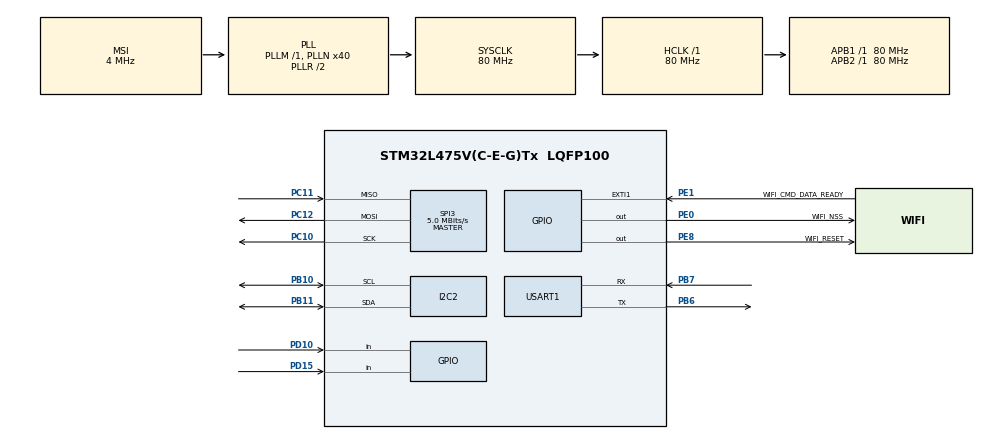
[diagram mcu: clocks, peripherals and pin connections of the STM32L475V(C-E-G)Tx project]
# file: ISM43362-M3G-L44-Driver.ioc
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I2C2.Timing=0x10909CEC
Mcu.Family=STM32L4
Mcu.Name=STM32L475V(C-E-G)Tx
Mcu.Package=LQFP100
NVIC.EXTI1_IRQn=true\:0\:0\:false\:false\:true\:true\:true
NVIC.PriorityGroup=NVIC_PRIORITYGROUP_4
PB10.Mode=I2C
PB10.Signal=I2C2_SCL
PB11.Mode=I2C
PB11.Signal=I2C2_SDA
PB6.Mode=Asynchronous
PB6.Signal=USART1_TX
PB7.Mode=Asynchronous
PB7.Signal=USART1_RX
PC10.Mode=Full_Duplex_Master
PC10.Signal=SPI3_SCK
PC11.Mode=Full_Duplex_Master
PC11.Signal=SPI3_MISO
PC12.Mode=Full_Duplex_Master
PC12.Signal=SPI3_MOSI
PD10.Signal=GPIO_Input
PD15.Signal=GPIO_Input
PE0.GPIO_Label=WIFI_NSS
PE0.Signal=GPIO_Output
PE1.GPIO_Label=WIFI_CMD_DATA_READY
PE1.GPIO_ModeDefaultEXTI=GPIO_MODE_IT_RISING_FALLING
PE1.Signal=GPXTI1
PE8.GPIO_Label=WIFI_RESET
PE8.Signal=GPIO_Output
ProjectManager.HeapSize=0x200
ProjectManager.StackSize=0x400
ProjectManager.TargetToolchain=STM32CubeIDE
RCC.ADCFreq_Value=48000000
RCC.AHBFreq_Value=80000000
RCC.APB1Freq_Value=80000000
RCC.APB1TimFreq_Value=80000000
RCC.APB2Freq_Value=80000000
RCC.APB2TimFreq_Value=80000000
RCC.CortexFreq_Value=80000000
RCC.HCLKFreq_Value=80000000
RCC.HSE_VALUE=8000000
RCC.HSI_VALUE=16000000
RCC.LSE_VALUE=32768
RCC.MSI_VALUE=4000000
RCC.PLLN=40
RCC.PLLSAI1N=24
RCC.SYSCLKFreq_VALUE=80000000
RCC.SYSCLKSource=RCC_SYSCLKSOURCE_PLLCLK
RCC.USBFreq_Value=48000000
RCC.VCOOutputFreq_Value=160000000
SPI3.BaudRatePrescaler=SPI_BAUDRATEPRESCALER_16
SPI3.CalculateBaudRate=5.0 MBits/s
SPI3.DataSize=SPI_DATASIZE_16BIT
SPI3.Direction=SPI_DIRECTION_2LINES
SPI3.Mode=SPI_MODE_MASTER
SPI3.VirtualType=VM_MASTER
USART1.VirtualMode-Asynchronous=VM_ASYNC
board=B-L475E-IOT01A1

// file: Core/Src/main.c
/* USER CODE BEGIN Header */
/**
  ******************************************************************************
  * @file           : main.c
  * @brief          : Main program body
  ******************************************************************************
  * @attention
  *
  * <h2><center>&copy; Copyright (c) 2020 STMicroelectronics.
  * All rights reserved.</center></h2>
  *
  * This software component is licensed by ST under BSD 3-Clause license,
  * the "License"; You may not use this file except in compliance with the
  * License. You may obtain a copy of the License at:
  *                        opensource.org/licenses/BSD-3-Clause
  *
  ******************************************************************************
  */
/* USER CODE END Header */

#include "main.h"

/* USER CODE BEGIN Includes */
#include "wifi.h"
#include "hts221.h"
#include "lps22hb.h"
/* USER CODE END Includes */

/* USER CODE BEGIN PD */
#define TX_BUFFER_SIZE 1024
#define RX_BUFFER_SIZE 1024
#define TX_TIMEOUT 2000
#define RX_TIMEOUT 2000
/* USER CODE END PD */

I2C_HandleTypeDef hi2c2;

SPI_HandleTypeDef hspi3;

UART_HandleTypeDef huart1;

/* USER CODE BEGIN PV */
uint8_t txBuffer[TX_BUFFER_SIZE];
uint8_t rxBuffer[RX_BUFFER_SIZE];

WIFI_HandleTypeDef hwifi;
WIFI_MQTTTypeDef hmqtt;

char ssid[] = "Weather_Station";
char passphrase[] = "tajnehaslo";

__IO FlagStatus cmdDataReady = 0;
/* USER CODE END PV */

void SystemClock_Config(void);
static void MX_GPIO_Init(void);
static void MX_SPI3_Init(void);
static void MX_USART1_UART_Init(void);
static void MX_I2C2_Init(void);
/* USER CODE BEGIN PFP */
static void WIFI_Init_main(void);
WIFI_StatusTypeDef WIFI_WebServerHandleRequest(WIFI_HandleTypeDef* hwifi, char* req, uint16_t sizeReq, char* res, uint16_t sizeRes);
/* USER CODE END PFP */

int main(void)
{

  /* MCU Configuration--------------------------------------------------------*/

  /* Reset of all peripherals, Initializes the Flash interface and the Systick. */
  HAL_Init();

  /* Configure the system clock */
  SystemClock_Config();

  /* Initialize all configured peripherals */
  MX_GPIO_Init();
  MX_SPI3_Init();
  MX_USART1_UART_Init();
  MX_I2C2_Init();
  /* USER CODE BEGIN 2 */

  WIFI_Init_main();

  //WIFI_JoinNetwork(&hwifi);
  WIFI_CreateNewNetwork(&hwifi);
  hts221_init(HTS221_I2C_ADDR, &hi2c2);
  WIFI_WebServerInit(&hwifi);
  WIFI_WebServerListen(&hwifi);

  /* USER CODE END 2 */

  /* Infinite loop */
  while (1)
  {
	  WIFI_WebServerListen(&hwifi);
  }
}

void SystemClock_Config(void)
{
  RCC_OscInitTypeDef RCC_OscInitStruct = {0};
  RCC_ClkInitTypeDef RCC_ClkInitStruct = {0};
  RCC_PeriphCLKInitTypeDef PeriphClkInit = {0};

  /** Initializes the CPU, AHB and APB busses clocks
  */
  RCC_OscInitStruct.OscillatorType = RCC_OSCILLATORTYPE_MSI;
  RCC_OscInitStruct.MSIState = RCC_MSI_ON;
  RCC_OscInitStruct.MSICalibrationValue = 0;
  RCC_OscInitStruct.MSIClockRange = RCC_MSIRANGE_6;
  RCC_OscInitStruct.PLL.PLLState = RCC_PLL_ON;
  RCC_OscInitStruct.PLL.PLLSource = RCC_PLLSOURCE_MSI;
  RCC_OscInitStruct.PLL.PLLM = 1;
  RCC_OscInitStruct.PLL.PLLN = 40;
  RCC_OscInitStruct.PLL.PLLP = RCC_PLLP_DIV7;
  RCC_OscInitStruct.PLL.PLLQ = RCC_PLLQ_DIV2;
  RCC_OscInitStruct.PLL.PLLR = RCC_PLLR_DIV2;
  if (HAL_RCC_OscConfig(&RCC_OscInitStruct) != HAL_OK)
  {
    Error_Handler();
  }
  /** Initializes the CPU, AHB and APB busses clocks
  */
  RCC_ClkInitStruct.ClockType = RCC_CLOCKTYPE_HCLK|RCC_CLOCKTYPE_SYSCLK
                              |RCC_CLOCKTYPE_PCLK1|RCC_CLOCKTYPE_PCLK2;
  RCC_ClkInitStruct.SYSCLKSource = RCC_SYSCLKSOURCE_PLLCLK;
  RCC_ClkInitStruct.AHBCLKDivider = RCC_SYSCLK_DIV1;
  RCC_ClkInitStruct.APB1CLKDivider = RCC_HCLK_DIV1;
  RCC_ClkInitStruct.APB2CLKDivider = RCC_HCLK_DIV1;

  if (HAL_RCC_ClockConfig(&RCC_ClkInitStruct, FLASH_LATENCY_4) != HAL_OK)
  {
    Error_Handler();
  }
  PeriphClkInit.PeriphClockSelection = RCC_PERIPHCLK_USART1|RCC_PERIPHCLK_I2C2;
  PeriphClkInit.Usart1ClockSelection = RCC_USART1CLKSOURCE_PCLK2;
  PeriphClkInit.I2c2ClockSelection = RCC_I2C2CLKSOURCE_PCLK1;
  if (HAL_RCCEx_PeriphCLKConfig(&PeriphClkInit) != HAL_OK)
  {
    Error_Handler();
  }
  /** Configure the main internal regulator output voltage
  */
  if (HAL_PWREx_ControlVoltageScaling(PWR_REGULATOR_VOLTAGE_SCALE1) != HAL_OK)
  {
    Error_Handler();
  }
}

static void MX_I2C2_Init(void)
{

  hi2c2.Instance = I2C2;
  hi2c2.Init.Timing = 0x10909CEC;
  hi2c2.Init.OwnAddress1 = 0;
  hi2c2.Init.AddressingMode = I2C_ADDRESSINGMODE_7BIT;
  hi2c2.Init.DualAddressMode = I2C_DUALADDRESS_DISABLE;
  hi2c2.Init.OwnAddress2 = 0;
  hi2c2.Init.OwnAddress2Masks = I2C_OA2_NOMASK;
  hi2c2.Init.GeneralCallMode = I2C_GENERALCALL_DISABLE;
  hi2c2.Init.NoStretchMode = I2C_NOSTRETCH_DISABLE;
  if (HAL_I2C_Init(&hi2c2) != HAL_OK)
  {
    Error_Handler();
  }
  /** Configure Analogue filter
  */
  if (HAL_I2CEx_ConfigAnalogFilter(&hi2c2, I2C_ANALOGFILTER_ENABLE) != HAL_OK)
  {
    Error_Handler();
  }
  /** Configure Digital filter
  */
  if (HAL_I2CEx_ConfigDigitalFilter(&hi2c2, 0) != HAL_OK)
  {
    Error_Handler();
  }

}

static void MX_SPI3_Init(void)
{

  /* SPI3 parameter configuration*/
  hspi3.Instance = SPI3;
  hspi3.Init.Mode = SPI_MODE_MASTER;
  hspi3.Init.Direction = SPI_DIRECTION_2LINES;
  hspi3.Init.DataSize = SPI_DATASIZE_16BIT;
  hspi3.Init.CLKPolarity = SPI_POLARITY_LOW;
  hspi3.Init.CLKPhase = SPI_PHASE_1EDGE;
  hspi3.Init.NSS = SPI_NSS_SOFT;
  hspi3.Init.BaudRatePrescaler = SPI_BAUDRATEPRESCALER_16;
  hspi3.Init.FirstBit = SPI_FIRSTBIT_MSB;
  hspi3.Init.TIMode = SPI_TIMODE_DISABLE;
  hspi3.Init.CRCCalculation = SPI_CRCCALCULATION_DISABLE;
  hspi3.Init.CRCPolynomial = 7;
  hspi3.Init.CRCLength = SPI_CRC_LENGTH_DATASIZE;
  hspi3.Init.NSSPMode = SPI_NSS_PULSE_ENABLE;
  if (HAL_SPI_Init(&hspi3) != HAL_OK)
  {
    Error_Handler();
  }

}

static void MX_USART1_UART_Init(void)
{

  huart1.Instance = USART1;
  huart1.Init.BaudRate = 115200;
  huart1.Init.WordLength = UART_WORDLENGTH_8B;
  huart1.Init.StopBits = UART_STOPBITS_1;
  huart1.Init.Parity = UART_PARITY_NONE;
  huart1.Init.Mode = UART_MODE_TX_RX;
  huart1.Init.HwFlowCtl = UART_HWCONTROL_NONE;
  huart1.Init.OverSampling = UART_OVERSAMPLING_16;
  huart1.Init.OneBitSampling = UART_ONE_BIT_SAMPLE_DISABLE;
  huart1.AdvancedInit.AdvFeatureInit = UART_ADVFEATURE_NO_INIT;
  if (HAL_UART_Init(&huart1) != HAL_OK)
  {
    Error_Handler();
  }

}

static void MX_GPIO_Init(void)
{
  GPIO_InitTypeDef GPIO_InitStruct = {0};

  /* GPIO Ports Clock Enable */
  __HAL_RCC_GPIOE_CLK_ENABLE();
  __HAL_RCC_GPIOB_CLK_ENABLE();
  __HAL_RCC_GPIOD_CLK_ENABLE();
  __HAL_RCC_GPIOC_CLK_ENABLE();

  /*Configure GPIO pin Output Level */
  HAL_GPIO_WritePin(GPIOE, WIFI_RESET_Pin|WIFI_NSS_Pin, GPIO_PIN_RESET);

  /*Configure GPIO pins : WIFI_RESET_Pin WIFI_NSS_Pin */
  GPIO_InitStruct.Pin = WIFI_RESET_Pin|WIFI_NSS_Pin;
  GPIO_InitStruct.Mode = GPIO_MODE_OUTPUT_PP;
  GPIO_InitStruct.Pull = GPIO_NOPULL;
  GPIO_InitStruct.Speed = GPIO_SPEED_FREQ_LOW;
  HAL_GPIO_Init(GPIOE, &GPIO_InitStruct);

  /*Configure GPIO pins : PD10 PD15 */
  GPIO_InitStruct.Pin = GPIO_PIN_10|GPIO_PIN_15;
  GPIO_InitStruct.Mode = GPIO_MODE_INPUT;
  GPIO_InitStruct.Pull = GPIO_NOPULL;
  HAL_GPIO_Init(GPIOD, &GPIO_InitStruct);

  /*Configure GPIO pin : WIFI_CMD_DATA_READY_Pin */
  GPIO_InitStruct.Pin = WIFI_CMD_DATA_READY_Pin;
  GPIO_InitStruct.Mode = GPIO_MODE_IT_RISING_FALLING;
  GPIO_InitStruct.Pull = GPIO_NOPULL;
  HAL_GPIO_Init(WIFI_CMD_DATA_READY_GPIO_Port, &GPIO_InitStruct);

  /* EXTI interrupt init*/
  HAL_NVIC_SetPriority(EXTI1_IRQn, 0, 0);
  HAL_NVIC_EnableIRQ(EXTI1_IRQn);

}

/* USER CODE BEGIN 4 */
WIFI_StatusTypeDef WIFI_WebServerHandleRequest(WIFI_HandleTypeDef* hwifi, char* req, uint16_t sizeReq, char* res, uint16_t sizeRes){
	int msgLength = sprintf(wifiTxBuffer, "R0\r");
	WIFI_SendATCommand(hwifi, wifiTxBuffer, msgLength+1, wifiRxBuffer, WIFI_RX_BUFFER_SIZE);
	//if rx == HUM
	float humidity = hts221_humidity_read(HTS221_I2C_ADDR, &hi2c2);
	float temp = hts221_temp_read(HTS221_I2C_ADDR, &hi2c2);
	float pressure = lps22hb_pressure_read(LPS22HB_I2C_ADDR, &hi2c2);
	char str[255];
	uint8_t size = sprintf(str, "T:%f_H:_%f_P:%f\n\r", temp, humidity, pressure);

	msgLength = sprintf(wifiTxBuffer, "S3=%d\r%s", size, str);
	WIFI_SendATCommand(hwifi, wifiTxBuffer, msgLength+1, wifiRxBuffer, WIFI_RX_BUFFER_SIZE);
	return WIFI_OK;
}

static void WIFI_Init_main(){

	hwifi.handle = &hspi3;
	hwifi.ssid = ssid;
	hwifi.passphrase = passphrase;
	hwifi.securityType = WPA_MIXED;
	hwifi.DHCP = SET;
	hwifi.ipStatus = IP_V4;
	hwifi.transportProtocol = WIFI_TCP_PROTOCOL;
	hwifi.port = 8080;

	WIFI_Init(&hwifi);
}

void HAL_GPIO_EXTI_Callback(uint16_t GPIO_Pin){

	if(GPIO_Pin == WIFI_CMD_DATA_READY_Pin){
		cmdDataReady = HAL_GPIO_ReadPin(WIFI_CMD_DATA_READY_GPIO_Port, WIFI_CMD_DATA_READY_Pin);
	}
}

/* USER CODE END 4 */

void Error_Handler(void)
{
}

/************************ (C) COPYRIGHT STMicroelectronics *****END OF FILE****/
